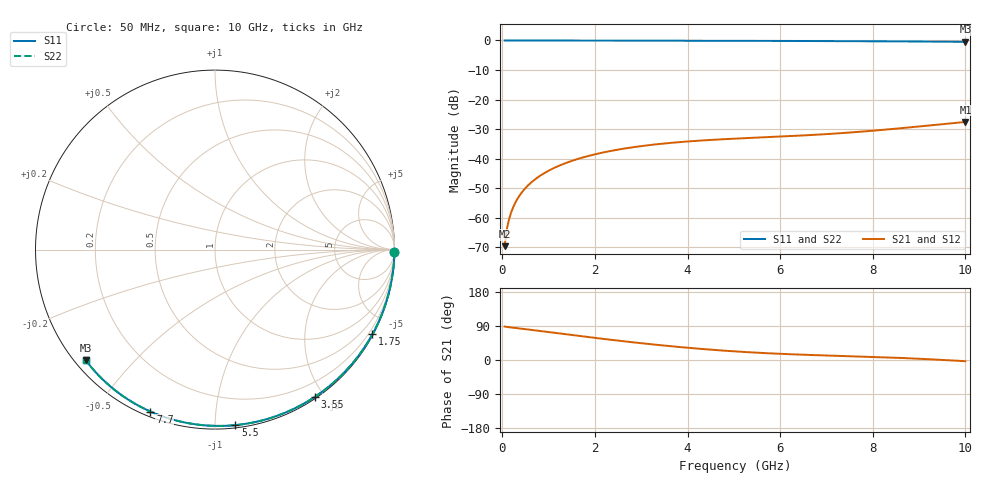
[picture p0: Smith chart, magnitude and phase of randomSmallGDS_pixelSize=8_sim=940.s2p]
! freq	dB(S11)	phase(S11)	dB(S12)	phase(S12)
!  dB(S21)	phase(S21)	dB(S22)	phase(S22)
!S-par simulation data
#  GHz  S  DB  R 50
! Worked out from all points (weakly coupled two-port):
!   200 points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, 50 MHz to 10 GHz, reference 50 ohm
!   highest |S21| = -27.59 dB at 10 GHz (marker M1); lowest = -69.7 dB at 50 MHz (marker M2)
!   lowest |S11| = -0.5 dB at 10 GHz (marker M3), VSWR 37.48, Z = 1.52 - j18.4 ohm
!   |S11| at or under -10 dB: nowhere
!   |S22| runs from -0.5 to 0.0 dB; largest |S21 - S12| = 0
!   S11 on the Smith chart (normalised r, x): 50 MHz: open; 1.75 GHz: 0.03, -3.98; 3.55 GHz: 0.02, -1.89; 5.5 GHz: 0.02, -1.12; 7.7 GHz: 0.02, -0.68; 10 GHz: 0.03, -0.37
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0.05  -0.00 -0.8  -69.67 88.3  -69.67 88.3  -0.00 -0.8
0.1  -0.00 -1.6  -63.74 87.2  -63.74 87.2  -0.00 -1.6
0.15  -0.00 -2.5  -60.30 86.4  -60.30 86.4  -0.00 -2.5
0.2  -0.00 -3.3  -57.85 85.7  -57.85 85.7  -0.00 -3.3
0.25  -0.00 -4.1  -55.94 85.0  -55.94 85.0  -0.00 -4.1
0.35  -0.00 -5.7  -53.06 83.6  -53.06 83.6  -0.00 -5.7
0.5  -0.01 -8.2  -50.00 81.4  -50.00 81.4  -0.01 -8.2
0.7  -0.01 -11.4  -47.12 78.3  -47.12 78.3  -0.01 -11.4
1  -0.02 -16.3  -44.11 73.6  -44.11 73.6  -0.02 -16.3
1.35  -0.03 -21.9  -41.64 68.2  -41.64 68.2  -0.03 -21.9
1.75  -0.04 -28.2  -39.58 62.1  -39.58 62.1  -0.04 -28.2
2.5  -0.05 -39.9  -36.97 51.1  -36.97 51.1  -0.05 -39.9
3.4  -0.07 -53.6  -35.05 39.2  -35.05 39.2  -0.07 -53.6
3.55  -0.08 -55.8  -34.81 37.4  -34.81 37.4  -0.08 -55.8
4.3  -0.10 -66.7  -33.88 29.2  -33.88 29.2  -0.10 -66.7
5.05  -0.12 -77.2  -33.23 22.5  -33.23 22.5  -0.12 -77.2
5.5  -0.14 -83.4  -32.90 19.3  -32.90 19.3  -0.14 -83.4
6.7  -0.19 -99.2  -32.00 13.1  -32.00 13.1  -0.19 -99.2
7.7  -0.25 -111.7  -30.95 9.4  -30.95 9.4  -0.25 -111.7
8.35  -0.30 -119.7  -30.09 6.7  -30.09 6.7  -0.30 -119.7
9.2  -0.38 -129.9  -28.83 2.1  -28.83 2.1  -0.38 -129.9
10  -0.46 -139.5  -27.59 -3.2  -27.59 -3.2  -0.46 -139.5
